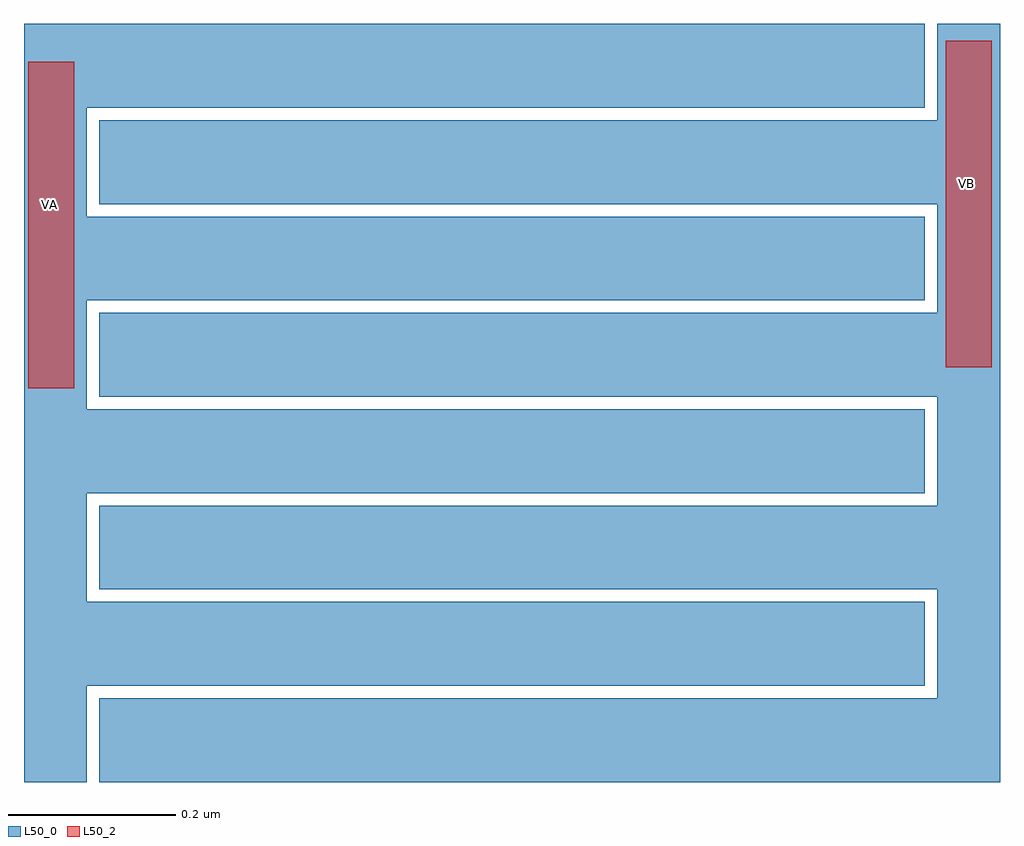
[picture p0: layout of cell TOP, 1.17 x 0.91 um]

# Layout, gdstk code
import gdstk
lib = gdstk.Library(unit=1e-6, precision=1e-09)
def R(c, l, rs):  # rectangles x0, y0, x1, y1
    for r in rs: c.add(gdstk.rectangle(r[:2], r[2:], *l))
def A(c, l, x, y, w, h, nx, ny, dx, dy):  # array of equal rectangles
    R(c, l, [(x+i*dx, y+j*dy, x+i*dx+w, y+j*dy+h) for i in range(nx) for j in range(ny)])
L50_0 = (50, 0)
L50_2 = (50, 2)

top = lib.new_cell('TOP')
A(top, L50_0, -0.885, -0.285, 1, 0.1, 1, 4, 0, 0.23)
A(top, L50_0, -0.9, -0.17, 1, 0.1, 1, 4, 0, 0.23)
R(top, L50_0, [(-0.975,-0.285,-0.9,0.62), (0.115,-0.285,0.19,0.62)])
R(top, L50_2, [(-0.97,0.185,-0.915,0.575), (0.125,0.21,0.18,0.6)])
top.add(gdstk.Label('VA', (-0.945,0.405), layer=50, texttype=25))
top.add(gdstk.Label('VB', (0.15,0.43), layer=50, texttype=25))

lib.write_gds('TOP.gds')
